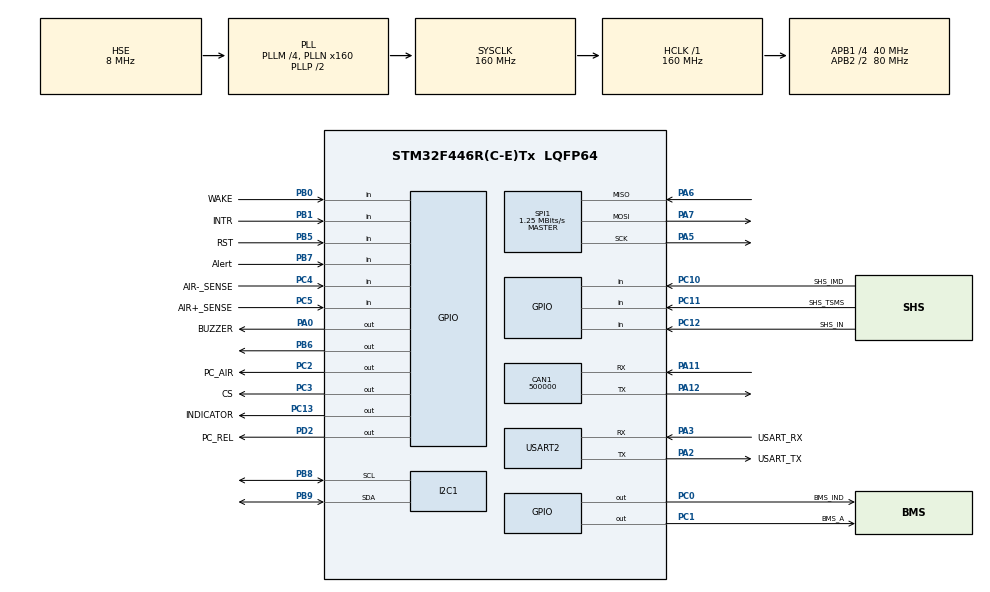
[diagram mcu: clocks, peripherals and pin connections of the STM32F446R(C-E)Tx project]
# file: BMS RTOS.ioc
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CAN1.BS1=CAN_BS1_2TQ
CAN1.BS2=CAN_BS2_2TQ
CAN1.CalculateBaudRate=500000
CAN1.CalculateTimeBit=2000
CAN1.CalculateTimeQuantum=400.0
FREERTOS.Queues01=Charging_Control,5,uint8_t,0,Dynamic,NULL,NULL;Balance_Control,5,uint8_t,0,Dynamic,NULL,NULL
FREERTOS.Tasks01=defaultTask,8,128,StartDefaultTask,Default,NULL,Dynamic,NULL,NULL;ADBMS,48,1024,Start_ADBMS_Task,Default,NULL,Dynamic,NULL,NULL;State_Machine,48,512,Start_State_Machine_Task,Default,NULL,Dynamic,NULL,NULL;Charging,40,512,Start_Charging_Task,Default,NULL,Dynamic,NULL,NULL;CAN,32,512,Start_CAN_Task,Default,NULL,Dynamic,NULL,NULL;UART,16,875,Start_UART_Task,Default,NULL,Dynamic,NULL,NULL
FREERTOS.configUSE_NEWLIB_REENTRANT=1
Mcu.Family=STM32F4
Mcu.Name=STM32F446R(C-E)Tx
Mcu.Package=LQFP64
NVIC.CAN1_RX0_IRQn=true\:5\:0\:false\:false\:true\:true\:true\:true\:true
NVIC.PriorityGroup=NVIC_PRIORITYGROUP_4
NVIC.TIM2_IRQn=true\:15\:0\:false\:false\:true\:false\:false\:true\:true
NVIC.TimeBase=TIM2_IRQn
NVIC.TimeBaseIP=TIM2
PA0-WKUP.GPIO_Label=BUZZER
PA0-WKUP.GPIO_Speed=GPIO_SPEED_FREQ_VERY_HIGH
PA0-WKUP.PinState=GPIO_PIN_SET
PA0-WKUP.Signal=GPIO_Output
PA11.Mode=CAN_Activate
PA11.Signal=CAN1_RX
PA12.Mode=CAN_Activate
PA12.Signal=CAN1_TX
PA13.GPIO_Label=TMS
PA13.Mode=Serial_Wire
PA13.Signal=SYS_JTMS-SWDIO
PA14.GPIO_Label=TCK
PA14.Mode=Serial_Wire
PA14.Signal=SYS_JTCK-SWCLK
PA2.GPIO_Label=USART_TX
PA2.Mode=Asynchronous
PA2.Signal=USART2_TX
PA3.GPIO_Label=USART_RX
PA3.Mode=Asynchronous
PA3.Signal=USART2_RX
PA5.Mode=Full_Duplex_Master
PA5.Signal=SPI1_SCK
PA6.Mode=Full_Duplex_Master
PA6.Signal=SPI1_MISO
PA7.Mode=Full_Duplex_Master
PA7.Signal=SPI1_MOSI
PB0.GPIO_Label=WAKE
PB0.Signal=GPIO_Input
PB1.GPIO_Label=INTR
PB1.Signal=GPIO_Input
PB3.GPIO_Label=SWO
PB3.Signal=SYS_JTDO-SWO
PB5.GPIO_Label=RST
PB5.Signal=GPIO_Input
PB6.GPIO_PuPd=GPIO_NOPULL
PB6.GPIO_Speed=GPIO_SPEED_FREQ_VERY_HIGH
PB6.PinState=GPIO_PIN_SET
PB6.Signal=GPIO_Output
PB7.GPIO_Label=Alert
PB7.Signal=GPIO_Input
PB8.Mode=I2C
PB8.Signal=I2C1_SCL
PB9.Mode=I2C
PB9.Signal=I2C1_SDA
PC0.GPIO_Label=BMS_IND
PC0.Signal=GPIO_Output
PC1.GPIO_Label=BMS_A
PC1.Signal=GPIO_Output
PC10.GPIO_Label=SHS_IMD
PC10.Signal=GPIO_Input
PC11.GPIO_Label=SHS_TSMS
PC11.Signal=GPIO_Input
PC12.GPIO_Label=SHS_IN
PC12.Signal=GPIO_Input
PC13.GPIO_Label=INDICATOR
PC13.Signal=GPIO_Output
PC14-OSC32_IN.Mode=LSE-External-Oscillator
PC14-OSC32_IN.Signal=RCC_OSC32_IN
PC15-OSC32_OUT.Mode=LSE-External-Oscillator
PC15-OSC32_OUT.Signal=RCC_OSC32_OUT
PC2.GPIO_Label=PC_AIR
PC2.Signal=GPIO_Output
PC3.GPIO_Label=CS
PC3.GPIO_PuPd=GPIO_NOPULL
PC3.GPIO_Speed=GPIO_SPEED_FREQ_MEDIUM
PC3.PinState=GPIO_PIN_SET
PC3.Signal=GPIO_Output
PC4.GPIO_Label=AIR-_SENSE
PC4.Signal=GPIO_Input
PC5.GPIO_Label=AIR+_SENSE
PC5.Signal=GPIO_Input
PD2.GPIO_Label=PC_REL
PD2.Signal=GPIO_Output
PH0-OSC_IN.Mode=HSE-External-Oscillator
PH0-OSC_IN.Signal=RCC_OSC_IN
PH1-OSC_OUT.Mode=HSE-External-Oscillator
PH1-OSC_OUT.Signal=RCC_OSC_OUT
ProjectManager.HeapSize=0x200
ProjectManager.StackSize=0x400
ProjectManager.TargetToolchain=STM32CubeIDE
RCC.48MHZClocksFreq_Value=84000000
RCC.AHBFreq_Value=160000000
RCC.APB1CLKDivider=RCC_HCLK_DIV4
RCC.APB1Freq_Value=40000000
RCC.APB1TimFreq_Value=80000000
RCC.APB2CLKDivider=RCC_HCLK_DIV2
RCC.APB2Freq_Value=80000000
RCC.APB2TimFreq_Value=160000000
RCC.CortexFreq_Value=160000000
RCC.FLatency-AdvancedSettings=FLASH_LATENCY_5
RCC.HCLKFreq_Value=160000000
RCC.HSE_VALUE=8000000
RCC.HSI_VALUE=16000000
RCC.PLLM=4
RCC.PLLN=160
RCC.PLLSourceVirtual=RCC_PLLSOURCE_HSE
RCC.SYSCLKFreq_VALUE=160000000
RCC.SYSCLKSource=RCC_SYSCLKSOURCE_PLLCLK
RCC.USBFreq_Value=160000000
RCC.VCOOutputFreq_Value=320000000
SPI1.BaudRatePrescaler=SPI_BAUDRATEPRESCALER_64
SPI1.CLKPhase=SPI_PHASE_1EDGE
SPI1.CLKPolarity=SPI_POLARITY_LOW
SPI1.CalculateBaudRate=1.25 MBits/s
SPI1.Direction=SPI_DIRECTION_2LINES
SPI1.Mode=SPI_MODE_MASTER
SPI1.VirtualType=VM_MASTER
USART2.Parity=PARITY_NONE
USART2.VirtualMode=VM_ASYNC
VP_FREERTOS_VS_CMSIS_V2.Mode=CMSIS_V2
VP_SYS_VS_tim2.Mode=TIM2
board=NUCLEO-F446RE

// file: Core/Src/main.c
/* USER CODE BEGIN Header */
/**
  ******************************************************************************
  * @file           : main.c
  * @brief          : Main program body
  ******************************************************************************
  * @attention
  *
  * Copyright (c) 2024 STMicroelectronics.
  * All rights reserved.
  *
  * This software is licensed under terms that can be found in the LICENSE file
  * in the root directory of this software component.
  * If no LICENSE file comes with this software, it is provided AS-IS.
  *
  ******************************************************************************
  */
/* USER CODE END Header */
#include "main.h"
#include "cmsis_os.h"

/* USER CODE BEGIN Includes */

#include "task.h"
#include "FreeRTOS.h"

#include "FEB_SM.h"
#include "FEB_Const.h"
#include "FEB_ADBMS6830B.h"
#include "FEB_CAN_Charger.h"

/* USER CODE END Includes */

CAN_HandleTypeDef hcan1;

I2C_HandleTypeDef hi2c1;

SPI_HandleTypeDef hspi1;

UART_HandleTypeDef huart2;

/* Definitions for defaultTask */
osThreadId_t defaultTaskHandle;
const osThreadAttr_t defaultTask_attributes = {
  .name = "defaultTask",
  .stack_size = 128 * 4,
  .priority = (osPriority_t) osPriorityLow,
};
/* Definitions for ADBMS */
osThreadId_t ADBMSHandle;
const osThreadAttr_t ADBMS_attributes = {
  .name = "ADBMS",
  .stack_size = 1024 * 4,
  .priority = (osPriority_t) osPriorityRealtime,
};
/* Definitions for State_Machine */
osThreadId_t State_MachineHandle;
const osThreadAttr_t State_Machine_attributes = {
  .name = "State_Machine",
  .stack_size = 512 * 4,
  .priority = (osPriority_t) osPriorityRealtime,
};
/* Definitions for Charging */
osThreadId_t ChargingHandle;
const osThreadAttr_t Charging_attributes = {
  .name = "Charging",
  .stack_size = 512 * 4,
  .priority = (osPriority_t) osPriorityHigh,
};
/* Definitions for CAN */
osThreadId_t CANHandle;
const osThreadAttr_t CAN_attributes = {
  .name = "CAN",
  .stack_size = 512 * 4,
  .priority = (osPriority_t) osPriorityAboveNormal,
};
/* Definitions for UART */
osThreadId_t UARTHandle;
const osThreadAttr_t UART_attributes = {
  .name = "UART",
  .stack_size = 875 * 4,
  .priority = (osPriority_t) osPriorityBelowNormal,
};
/* Definitions for Charging_Control */
osMessageQueueId_t Charging_ControlHandle;
const osMessageQueueAttr_t Charging_Control_attributes = {
  .name = "Charging_Control"
};
/* Definitions for Balance_Control */
osMessageQueueId_t Balance_ControlHandle;
const osMessageQueueAttr_t Balance_Control_attributes = {
  .name = "Balance_Control"
};

void SystemClock_Config(void);
static void MX_GPIO_Init(void);
static void MX_USART2_UART_Init(void);
static void MX_SPI1_Init(void);
static void MX_CAN1_Init(void);
static void MX_I2C1_Init(void);
void StartDefaultTask(void *argument);
void Start_ADBMS_Task(void *argument);
void Start_State_Machine_Task(void *argument);
void Start_Charging_Task(void *argument);
void Start_CAN_Task(void *argument);
void Start_UART_Task(void *argument);

int main(void)
{

  /* MCU Configuration--------------------------------------------------------*/

  /* Reset of all peripherals, Initializes the Flash interface and the Systick. */
  HAL_Init();

  /* Configure the system clock */
  SystemClock_Config();

  /* Initialize all configured peripherals */
  MX_GPIO_Init();
  MX_USART2_UART_Init();
  MX_SPI1_Init();
  MX_CAN1_Init();
  MX_I2C1_Init();
  /* USER CODE BEGIN 2 */

  FEB_Main_Setup();

  /* USER CODE END 2 */

  /* Init scheduler */
  osKernelInitialize();

  /* Create the queue(s) */
  /* creation of Charging_Control */
  Charging_ControlHandle = osMessageQueueNew (5, sizeof(uint8_t), &Charging_Control_attributes);

  /* creation of Balance_Control */
  Balance_ControlHandle = osMessageQueueNew (5, sizeof(uint8_t), &Balance_Control_attributes);

  /* Create the thread(s) */
  /* creation of defaultTask */
  defaultTaskHandle = osThreadNew(StartDefaultTask, NULL, &defaultTask_attributes);

  /* creation of ADBMS */
  ADBMSHandle = osThreadNew(Start_ADBMS_Task, NULL, &ADBMS_attributes);

  /* creation of State_Machine */
  State_MachineHandle = osThreadNew(Start_State_Machine_Task, NULL, &State_Machine_attributes);

  /* creation of Charging */
  ChargingHandle = osThreadNew(Start_Charging_Task, NULL, &Charging_attributes);

  /* creation of CAN */
  CANHandle = osThreadNew(Start_CAN_Task, NULL, &CAN_attributes);

  /* creation of UART */
  UARTHandle = osThreadNew(Start_UART_Task, NULL, &UART_attributes);

  /* Start scheduler */
  osKernelStart();

  /* We should never get here as control is now taken by the scheduler */

  /* Infinite loop */
  while (1)
  {

  }
}

void SystemClock_Config(void)
{
  RCC_OscInitTypeDef RCC_OscInitStruct = {0};
  RCC_ClkInitTypeDef RCC_ClkInitStruct = {0};

  /** Configure the main internal regulator output voltage
  */
  __HAL_RCC_PWR_CLK_ENABLE();
  __HAL_PWR_VOLTAGESCALING_CONFIG(PWR_REGULATOR_VOLTAGE_SCALE1);

  /** Initializes the RCC Oscillators according to the specified parameters
  * in the RCC_OscInitTypeDef structure.
  */
  RCC_OscInitStruct.OscillatorType = RCC_OSCILLATORTYPE_HSE;
  RCC_OscInitStruct.HSEState = RCC_HSE_ON;
  RCC_OscInitStruct.PLL.PLLState = RCC_PLL_ON;
  RCC_OscInitStruct.PLL.PLLSource = RCC_PLLSOURCE_HSE;
  RCC_OscInitStruct.PLL.PLLM = 4;
  RCC_OscInitStruct.PLL.PLLN = 160;
  RCC_OscInitStruct.PLL.PLLP = RCC_PLLP_DIV2;
  RCC_OscInitStruct.PLL.PLLQ = 2;
  RCC_OscInitStruct.PLL.PLLR = 2;
  if (HAL_RCC_OscConfig(&RCC_OscInitStruct) != HAL_OK)
  {
    Error_Handler();
  }

  /** Initializes the CPU, AHB and APB buses clocks
  */
  RCC_ClkInitStruct.ClockType = RCC_CLOCKTYPE_HCLK|RCC_CLOCKTYPE_SYSCLK
                              |RCC_CLOCKTYPE_PCLK1|RCC_CLOCKTYPE_PCLK2;
  RCC_ClkInitStruct.SYSCLKSource = RCC_SYSCLKSOURCE_PLLCLK;
  RCC_ClkInitStruct.AHBCLKDivider = RCC_SYSCLK_DIV1;
  RCC_ClkInitStruct.APB1CLKDivider = RCC_HCLK_DIV4;
  RCC_ClkInitStruct.APB2CLKDivider = RCC_HCLK_DIV2;

  if (HAL_RCC_ClockConfig(&RCC_ClkInitStruct, FLASH_LATENCY_5) != HAL_OK)
  {
    Error_Handler();
  }
}

static void MX_CAN1_Init(void)
{

  hcan1.Instance = CAN1;
  hcan1.Init.Prescaler = 16;
  hcan1.Init.Mode = CAN_MODE_NORMAL;
  hcan1.Init.SyncJumpWidth = CAN_SJW_1TQ;
  hcan1.Init.TimeSeg1 = CAN_BS1_2TQ;
  hcan1.Init.TimeSeg2 = CAN_BS2_2TQ;
  hcan1.Init.TimeTriggeredMode = DISABLE;
  hcan1.Init.AutoBusOff = DISABLE;
  hcan1.Init.AutoWakeUp = DISABLE;
  hcan1.Init.AutoRetransmission = DISABLE;
  hcan1.Init.ReceiveFifoLocked = DISABLE;
  hcan1.Init.TransmitFifoPriority = DISABLE;
  if (HAL_CAN_Init(&hcan1) != HAL_OK)
  {
    Error_Handler();
  }

}

static void MX_I2C1_Init(void)
{

  hi2c1.Instance = I2C1;
  hi2c1.Init.ClockSpeed = 100000;
  hi2c1.Init.DutyCycle = I2C_DUTYCYCLE_2;
  hi2c1.Init.OwnAddress1 = 0;
  hi2c1.Init.AddressingMode = I2C_ADDRESSINGMODE_7BIT;
  hi2c1.Init.DualAddressMode = I2C_DUALADDRESS_DISABLE;
  hi2c1.Init.OwnAddress2 = 0;
  hi2c1.Init.GeneralCallMode = I2C_GENERALCALL_DISABLE;
  hi2c1.Init.NoStretchMode = I2C_NOSTRETCH_DISABLE;
  if (HAL_I2C_Init(&hi2c1) != HAL_OK)
  {
    Error_Handler();
  }

}

static void MX_SPI1_Init(void)
{

  /* SPI1 parameter configuration*/
  hspi1.Instance = SPI1;
  hspi1.Init.Mode = SPI_MODE_MASTER;
  hspi1.Init.Direction = SPI_DIRECTION_2LINES;
  hspi1.Init.DataSize = SPI_DATASIZE_8BIT;
  hspi1.Init.CLKPolarity = SPI_POLARITY_LOW;
  hspi1.Init.CLKPhase = SPI_PHASE_1EDGE;
  hspi1.Init.NSS = SPI_NSS_SOFT;
  hspi1.Init.BaudRatePrescaler = SPI_BAUDRATEPRESCALER_64;
  hspi1.Init.FirstBit = SPI_FIRSTBIT_MSB;
  hspi1.Init.TIMode = SPI_TIMODE_DISABLE;
  hspi1.Init.CRCCalculation = SPI_CRCCALCULATION_DISABLE;
  hspi1.Init.CRCPolynomial = 10;
  if (HAL_SPI_Init(&hspi1) != HAL_OK)
  {
    Error_Handler();
  }

}

static void MX_USART2_UART_Init(void)
{

  huart2.Instance = USART2;
  huart2.Init.BaudRate = 115200;
  huart2.Init.WordLength = UART_WORDLENGTH_8B;
  huart2.Init.StopBits = UART_STOPBITS_1;
  huart2.Init.Parity = UART_PARITY_NONE;
  huart2.Init.Mode = UART_MODE_TX_RX;
  huart2.Init.HwFlowCtl = UART_HWCONTROL_NONE;
  huart2.Init.OverSampling = UART_OVERSAMPLING_16;
  if (HAL_UART_Init(&huart2) != HAL_OK)
  {
    Error_Handler();
  }

}

static void MX_GPIO_Init(void)
{
  GPIO_InitTypeDef GPIO_InitStruct = {0};

  /* GPIO Ports Clock Enable */
  __HAL_RCC_GPIOC_CLK_ENABLE();
  __HAL_RCC_GPIOH_CLK_ENABLE();
  __HAL_RCC_GPIOA_CLK_ENABLE();
  __HAL_RCC_GPIOB_CLK_ENABLE();
  __HAL_RCC_GPIOD_CLK_ENABLE();

  /*Configure GPIO pin Output Level */
  HAL_GPIO_WritePin(GPIOC, INDICATOR_Pin|BMS_IND_Pin|BMS_A_Pin|PC_AIR_Pin, GPIO_PIN_RESET);

  /*Configure GPIO pin Output Level */
  HAL_GPIO_WritePin(CS_GPIO_Port, CS_Pin, GPIO_PIN_SET);

  /*Configure GPIO pin Output Level */
  HAL_GPIO_WritePin(BUZZER_GPIO_Port, BUZZER_Pin, GPIO_PIN_SET);

  /*Configure GPIO pin Output Level */
  HAL_GPIO_WritePin(PC_REL_GPIO_Port, PC_REL_Pin, GPIO_PIN_RESET);

  /*Configure GPIO pin Output Level */
  HAL_GPIO_WritePin(GPIOB, GPIO_PIN_6, GPIO_PIN_SET);

  /*Configure GPIO pins : INDICATOR_Pin BMS_IND_Pin BMS_A_Pin PC_AIR_Pin */
  GPIO_InitStruct.Pin = INDICATOR_Pin|BMS_IND_Pin|BMS_A_Pin|PC_AIR_Pin;
  GPIO_InitStruct.Mode = GPIO_MODE_OUTPUT_PP;
  GPIO_InitStruct.Pull = GPIO_NOPULL;
  GPIO_InitStruct.Speed = GPIO_SPEED_FREQ_LOW;
  HAL_GPIO_Init(GPIOC, &GPIO_InitStruct);

  /*Configure GPIO pin : CS_Pin */
  GPIO_InitStruct.Pin = CS_Pin;
  GPIO_InitStruct.Mode = GPIO_MODE_OUTPUT_PP;
  GPIO_InitStruct.Pull = GPIO_NOPULL;
  GPIO_InitStruct.Speed = GPIO_SPEED_FREQ_MEDIUM;
  HAL_GPIO_Init(CS_GPIO_Port, &GPIO_InitStruct);

  /*Configure GPIO pin : BUZZER_Pin */
  GPIO_InitStruct.Pin = BUZZER_Pin;
  GPIO_InitStruct.Mode = GPIO_MODE_OUTPUT_PP;
  GPIO_InitStruct.Pull = GPIO_NOPULL;
  GPIO_InitStruct.Speed = GPIO_SPEED_FREQ_VERY_HIGH;
  HAL_GPIO_Init(BUZZER_GPIO_Port, &GPIO_InitStruct);

  /*Configure GPIO pins : AIR__SENSE_Pin AIR__SENSEC5_Pin SHS_IMD_Pin SHS_TSMS_Pin
                           SHS_IN_Pin */
  GPIO_InitStruct.Pin = AIR__SENSE_Pin|AIR__SENSEC5_Pin|SHS_IMD_Pin|SHS_TSMS_Pin
                          |SHS_IN_Pin;
  GPIO_InitStruct.Mode = GPIO_MODE_INPUT;
  GPIO_InitStruct.Pull = GPIO_NOPULL;
  HAL_GPIO_Init(GPIOC, &GPIO_InitStruct);

  /*Configure GPIO pins : WAKE_Pin INTR_Pin RST_Pin Alert_Pin */
  GPIO_InitStruct.Pin = WAKE_Pin|INTR_Pin|RST_Pin|Alert_Pin;
  GPIO_InitStruct.Mode = GPIO_MODE_INPUT;
  GPIO_InitStruct.Pull = GPIO_NOPULL;
  HAL_GPIO_Init(GPIOB, &GPIO_InitStruct);

  /*Configure GPIO pin : PC_REL_Pin */
  GPIO_InitStruct.Pin = PC_REL_Pin;
  GPIO_InitStruct.Mode = GPIO_MODE_OUTPUT_PP;
  GPIO_InitStruct.Pull = GPIO_NOPULL;
  GPIO_InitStruct.Speed = GPIO_SPEED_FREQ_LOW;
  HAL_GPIO_Init(PC_REL_GPIO_Port, &GPIO_InitStruct);

  /*Configure GPIO pin : PB6 */
  GPIO_InitStruct.Pin = GPIO_PIN_6;
  GPIO_InitStruct.Mode = GPIO_MODE_OUTPUT_PP;
  GPIO_InitStruct.Pull = GPIO_NOPULL;
  GPIO_InitStruct.Speed = GPIO_SPEED_FREQ_VERY_HIGH;
  HAL_GPIO_Init(GPIOB, &GPIO_InitStruct);

}

void StartDefaultTask(void *argument)
{
  for(;;)
  {
    osDelay(1);
  }
}

void Start_ADBMS_Task(void *argument)
{
  /* USER CODE BEGIN Start_ADBMS_Task */
  /* Infinite loop */
  TickType_t xLastWakeTime = xTaskGetTickCount();
  const TickType_t adbms_period = pdMS_TO_TICKS(20);
  const TickType_t balance_period = pdMS_TO_TICKS(2000);
  TickType_t last_balance_time = xLastWakeTime;
  uint8_t balance_control;

  for(;;)
  {
    while (osMessageQueueGet(Balance_ControlHandle, &balance_control, NULL, 0) == osOK) {
      if (balance_control == BAL_CTRL_START) {
        FEB_Cell_Balance_Start();
      } else if (balance_control == BAL_CTRL_STOP) {
        FEB_Stop_Balance();
      }
    }

    FEB_Task_ADBMS_Voltage();

    if ((xTaskGetTickCount() - last_balance_time) >= balance_period) {
      FEB_Task_Balance();
      last_balance_time = xTaskGetTickCount();
    }

    FEB_Task_ADBMS_Temperature();

    vTaskDelayUntil(&xLastWakeTime, adbms_period);
  }
  /* USER CODE END Start_ADBMS_Task */
}

void Start_State_Machine_Task(void *argument)
{
  /* USER CODE BEGIN Start_State_Machine_Task */
  /* Infinite loop */
  TickType_t xLastWakeTime = xTaskGetTickCount();
  const TickType_t period = pdMS_TO_TICKS(10);
  uint32_t notified_value;

  for(;;)
  {
    if (xTaskNotifyWait(0, 0xFFFFFFFF, &notified_value, 0) == pdPASS) {
      FEB_SM_ST_t requested_fault = (FEB_SM_ST_t)notified_value;
      FEB_SM_Transition(requested_fault);
    }

    FEB_Task_SM();
    vTaskDelayUntil(&xLastWakeTime, period);
  }
  /* USER CODE END Start_State_Machine_Task */
}

void Start_Charging_Task(void *argument)
{
  /* USER CODE BEGIN Start_Charging_Task */
  /* Infinite loop */
  TickType_t xLastWakeTime = xTaskGetTickCount();
  const TickType_t period = pdMS_TO_TICKS(50);
  uint8_t charging_control;

  for(;;) {

    while (osMessageQueueGet(Charging_ControlHandle, &charging_control, NULL, 0) == osOK) {
      if (charging_control == CHARGE_CTRL_START) {
        FEB_CAN_Charger_Start_Charge();
      } else if (charging_control == CHARGE_CTRL_STOP) {
        FEB_CAN_Charger_Stop_Charge();
	      xTaskNotify(CANHandle, (uint32_t)1, eSetValueWithOverwrite);
      }
    }

    FEB_Task_Charging();
    vTaskDelayUntil(&xLastWakeTime, period);
  }
  /* USER CODE END Start_Charging_Task */
}

void Start_CAN_Task(void *argument)
{
  /* USER CODE BEGIN Start_CAN_Task */
  /* Infinite loop */
  TickType_t xLastWakeTime = xTaskGetTickCount();
  const TickType_t period = pdMS_TO_TICKS(10);
  uint32_t can_charge_request = 0;

  for(;;)
  {
    if (xTaskNotifyWait(0, 0xFFFFFFFF, &can_charge_request, 0) == pdPASS) {
      FEB_Task_CAN_Charging();
    }

    FEB_Task_CAN();
    vTaskDelayUntil(&xLastWakeTime, period);
  }
  /* USER CODE END Start_CAN_Task */
}

void Start_UART_Task(void *argument)
{
  /* USER CODE BEGIN Start_UART_Task */
  /* Infinite loop */
  TickType_t xLastWakeTime = xTaskGetTickCount();
  const TickType_t period = pdMS_TO_TICKS(1000);
  for(;;)
  {
    FEB_Task_UART();
    vTaskDelayUntil(&xLastWakeTime, period);
  }
  /* USER CODE END Start_UART_Task */
}

void HAL_TIM_PeriodElapsedCallback(TIM_HandleTypeDef *htim)
{
  if (htim->Instance == TIM2)
  {
    HAL_IncTick();
  }
}

void Error_Handler(void)
{
  __disable_irq();
  while (1)
  {
  }
}
